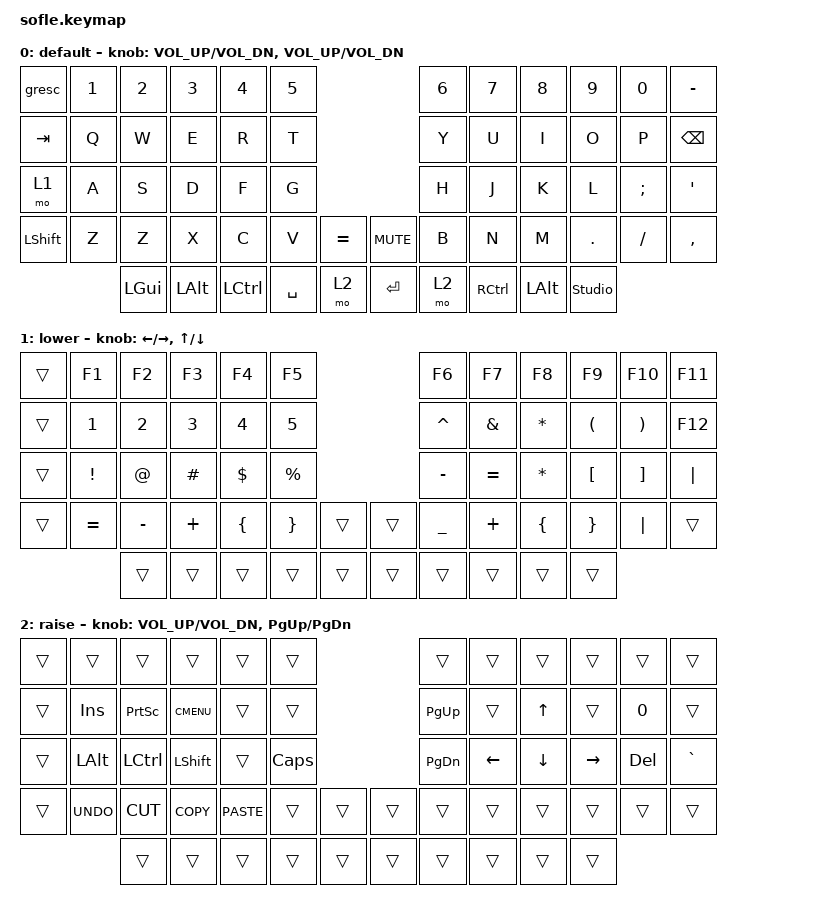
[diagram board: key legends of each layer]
/*
 * Copyright (c) 2020 The ZMK Contributors
 *
 * SPDX-License-Identifier: MIT
 */

#include <behaviors.dtsi>
#include <dt-bindings/zmk/keys.h>

/*
// Encoders

&sensors { triggers-per-rotation = <30>; };

&left_encoder { steps = <60>; };

&right_encoder { steps = <60>; };
*/

#define BASE 0
#define LOWER 1
#define RAISE 2
#define ADJUST 3
#define EXTRA 4

/ {
    combos { compatible = "zmk,combos"; };

    keymap {
        compatible = "zmk,keymap";

        // swap C_MUTE & EQUAL for encoder on the right

        Default {
            display-name = "default";

            // ------------------------------------------------------------------------------------------------------------
            // |   `   |  1  |  2  |  3   |  4   |  5   |                   |  6   |  7    |  8    |  9   |   0   |       |
            // |  ESC  |  Q  |  W  |  E   |  R   |  T   |                   |  Y   |  U    |  I    |  O   |   P   | BKSPC |
            // |  TAB  |  A  |  S  |  D   |  F   |  G   |                   |  H   |  J    |  K    |  L   |   ;   |   '   |
            // | SHIFT |  Z  |  X  |  C   |  V   |  B   |  MUTE  |  |       |  N   |  M    |  ,    |  .   |   /   | SHIFT |
            //               | GUI | ALT  | CTRL | LOWER|  ENTER |  | SPACE | RAISE| CTRL  | ALT   | GUI  |

            bindings = <
&gresc          &kp N1  &kp N2    &kp N3    &kp N4     &kp N5                              &kp N6  &kp N7     &kp N8    &kp N9          &kp N0    &kp MINUS
&kp TAB         &kp Q   &kp W     &kp E     &kp R      &kp T                               &kp Y   &kp U      &kp I     &kp O           &kp P     &kp BSPC
&mo 1           &kp A   &kp S     &kp D     &kp F      &kp G                               &kp H   &kp J      &kp K     &kp L           &kp SEMI  &kp SQT
&kp LEFT_SHIFT  &kp Z   &kp Z     &kp X     &kp C      &kp V      &kp EQUAL    &kp C_MUTE  &kp B   &kp N      &kp M     &kp DOT         &kp FSLH  &kp COMMA
                        &kp LGUI  &kp LALT  &kp LCTRL  &kp SPACE  &mo 2        &kp ENTER   &mo 2   &kp RCTRL  &kp LALT  &studio_unlock
            >;

            sensor-bindings = <&inc_dec_kp C_VOL_UP C_VOL_DN &inc_dec_kp C_VOL_UP C_VOL_DN>;
        };

        Function {
            display-name = "lower";

            // TODO: Some binds are waiting for shifted keycode support.
            // ------------------------------------------------------------------------------------------------------------
            // |       |  F1 |  F2 |  F3  |  F4  |  F5  |                   |  F6  |  F7   |  F8   |  F9  |  F10  |  F11  |
            // |   `   |  1  |  2  |  3   |  4   |  5   |                   |  6   |  7    |  8    |  9   |   0   |  F12  |
            // |       |  !  |  @  |  #   |  $   |  %   |                   |  ^   |  &    |  *    |  (   |   )   |   |   |
            // |       |  =  |  -  |  +   |  {   |  }   |        |  |       |  [   |  ]    |  ;    |  :   |   \   |       |
            //               |     |      |      |      |        |  |       |      |       |       |      |

            bindings = <
&trans  &kp F1     &kp F2     &kp F3    &kp F4    &kp F5                       &kp F6          &kp F7         &kp F8          &kp F9                &kp F10                &kp F11
&trans  &kp N1     &kp N2     &kp N3    &kp N4    &kp N5                       &kp CARET       &kp AMPERSAND  &kp ASTRK       &kp LEFT_PARENTHESIS  &kp RIGHT_PARENTHESIS  &kp F12
&trans  &kp EXCL   &kp AT     &kp HASH  &kp DLLR  &kp PRCNT                    &kp MINUS       &kp EQUAL      &kp ASTRK       &kp LEFT_BRACKET      &kp RIGHT_BRACKET      &kp PIPE
&trans  &kp EQUAL  &kp MINUS  &kp PLUS  &kp LBRC  &kp RBRC   &trans    &trans  &kp UNDERSCORE  &kp PLUS       &kp LEFT_BRACE  &kp RIGHT_BRACE       &kp PIPE               &trans
                   &trans     &trans    &trans    &trans     &trans    &trans  &trans          &trans         &trans          &trans
            >;

            sensor-bindings =
                <&inc_dec_kp LEFT_ARROW RIGHT_ARROW>,
                <&inc_dec_kp UP_ARROW DOWN_ARROW>;
        };

        Navigation {
            display-name = "raise";

            // ------------------------------------------------------------------------------------------------------------
            // | BTCLR | BT1  | BT2  |  BT3  |  BT4  |  BT5 |                |      |      |       |      |       |       |
            // |       | INS  | PSCR | GUI   |       |      |                | PGUP |      |   ^   |      |       |       |
            // |       | ALT  | CTRL | SHIFT |       | CAPS |                | PGDN |   <- |   v   |  ->  |  DEL  | BKSPC |
            // |       | UNDO | CUT  | COPY  | PASTE |      |      |  |      |      |      |       |      |       |       |
            //                |      |       |       |      |      |  |      |      |      |       |      |

            bindings = <
&trans  &trans      &trans     &trans       &trans       &trans                      &trans     &trans    &trans    &trans     &trans   &trans
&trans  &kp INS     &kp PSCRN  &kp K_CMENU  &trans       &trans                      &kp PG_UP  &trans    &kp UP    &trans     &kp N0   &trans
&trans  &kp LALT    &kp LCTRL  &kp LSHFT    &trans       &kp CLCK                    &kp PG_DN  &kp LEFT  &kp DOWN  &kp RIGHT  &kp DEL  &kp GRAVE
&trans  &kp K_UNDO  &kp K_CUT  &kp K_COPY   &kp K_PASTE  &trans    &trans    &trans  &trans     &trans    &trans    &trans     &trans   &trans
                    &trans     &trans       &trans       &trans    &trans    &trans  &trans     &trans    &trans    &trans
            >;

            sensor-bindings = <&inc_dec_kp C_VOL_UP C_VOL_DN &inc_dec_kp PG_UP PG_DN>;
        };
    };
};
